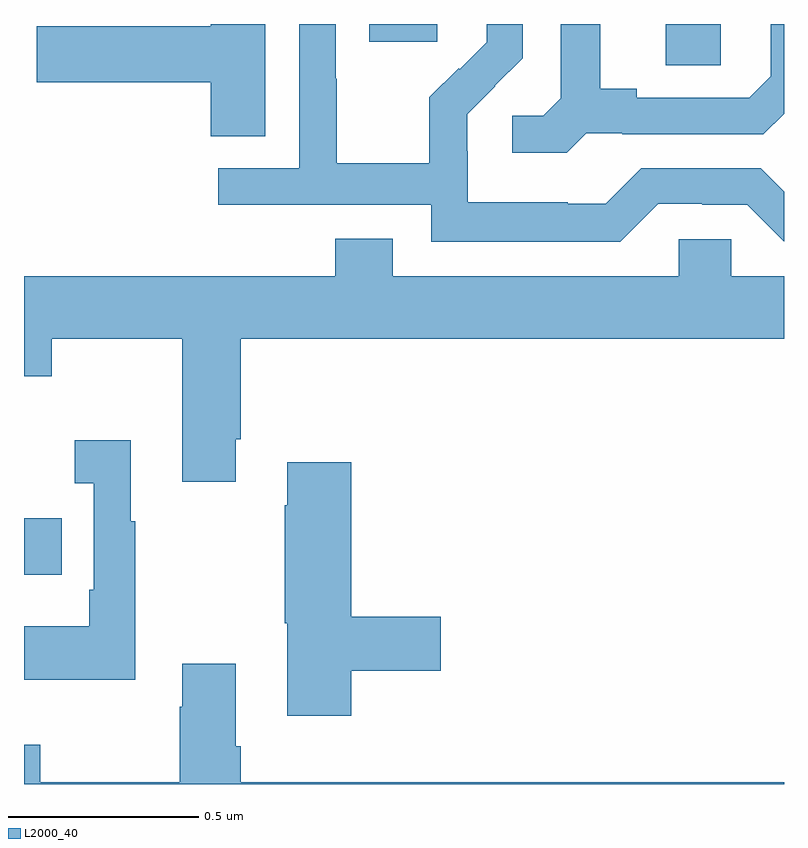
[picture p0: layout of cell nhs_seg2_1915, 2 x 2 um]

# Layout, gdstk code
import gdstk
lib = gdstk.Library(unit=1e-6, precision=1e-09)
def R(c, l, rs):  # rectangles x0, y0, x1, y1
    for r in rs: c.add(gdstk.rectangle(r[:2], r[2:], *l))
def P(c, l, *ps):  # polygons
    for p in ps: c.add(gdstk.Polygon(p, *l))
L2000_40 = (2000, 40)

nhs_seg2_1915 = lib.new_cell('nhs_seg2_1915')
R(nhs_seg2_1915, L2000_40, [(134,644.351,134.099,644.499), (135.689,645.691,135.834,645.8), (134.909,645.753,135.088,645.8)])
P(nhs_seg2_1915, L2000_40, [(134.635,645.8),(134.492,645.8),(134.492,645.794),(134.034,645.794),(134.034,645.647),(134.492,645.647),(134.492,645.505),(134.635,645.505)],
  [(135.48,645.513),(135.574,645.513),(135.574,645.51),(135.946,645.51),(136,645.564),(136,645.8),(135.965,645.8),(135.965,645.663),(135.908,645.606),(135.613,645.606),(135.613,645.629),(135.517,645.629),(135.517,645.8),(135.413,645.8),(135.413,645.605),(135.366,645.558),(135.285,645.558),(135.285,645.461),(135.428,645.461)],
  [(135.669,645.327),(135.785,645.327),(135.785,645.324),(135.903,645.324),(135.999,645.228),(136,645.228),(136,645.359),(135.939,645.42),(135.624,645.42),(135.531,645.327),(135.431,645.327),(135.431,645.331),(135.168,645.331),(135.168,645.465),(135.166,645.465),(135.166,645.562),(135.24,645.636),(135.239,645.637),(135.312,645.71),(135.312,645.8),(135.218,645.8),(135.218,645.752),(135.147,645.681),(135.144,645.684),(135.067,645.607),(135.067,645.433),(134.823,645.433),(134.823,645.656),(134.82,645.656),(134.82,645.8),(134.724,645.8),(134.724,645.42),(134.511,645.42),(134.511,645.324),(135.072,645.324),(135.072,645.227),(135.569,645.227)],
  [(134.557,644.707),(134.57,644.707),(134.57,644.972),(136,644.972),(136,645.136),(135.861,645.136),(135.861,645.234),(135.723,645.234),(135.723,645.136),(134.971,645.136),(134.971,645.235),(134.819,645.235),(134.819,645.136),(134,645.136),(134,644.873),(134.073,644.873),(134.073,644.972),(134.417,644.972),(134.417,644.595),(134.557,644.595)],
  [(134.293,644.491),(134.281,644.491),(134.281,644.704),(134.133,644.704),(134.133,644.591),(134.184,644.591),(134.184,644.311),(134.172,644.311),(134.172,644.215),(134,644.215),(134,644.075),(134.293,644.075)],
  [(134.861,644.098),(135.097,644.098),(135.097,644.24),(134.861,644.24),(134.861,644.647),(134.693,644.647),(134.693,644.534),(134.686,644.534),(134.686,644.223),(134.693,644.223),(134.693,643.98),(134.861,643.98)],
  [(136,643.804),(134.57,643.804),(134.57,643.9),(134.557,643.9),(134.557,644.116),(134.417,644.116),(134.417,644.003),(134.41,644.003),(134.41,643.804),(134.043,643.804),(134.043,643.903),(134,643.903),(134,643.8),(136,643.8)])

lib.write_gds('nhs_seg2_1915.gds')
